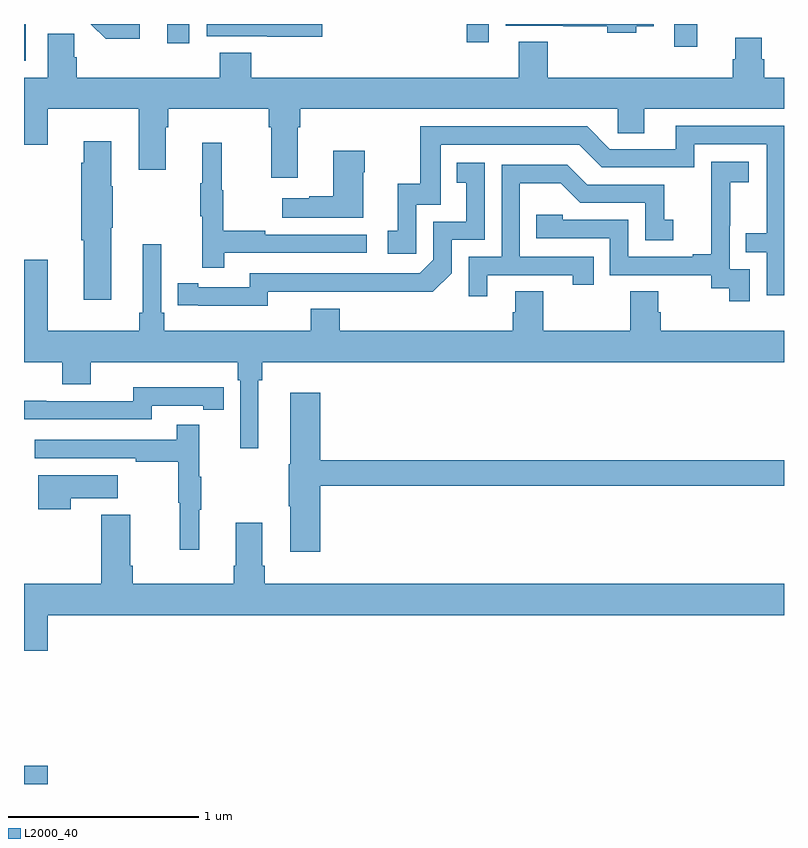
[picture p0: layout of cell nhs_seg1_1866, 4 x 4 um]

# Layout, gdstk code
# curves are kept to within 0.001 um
import gdstk
lib = gdstk.Library(unit=1e-6, precision=1e-09)
def R(c, l, rs):  # rectangles x0, y0, x1, y1
    for r in rs: c.add(gdstk.rectangle(r[:2], r[2:], *l))
def P(c, l, *ps):  # polygons
    for p in ps: c.add(gdstk.Polygon(p, *l))
L2000_40 = (2000, 40)

nhs_seg1_1866 = lib.new_cell('nhs_seg1_1866')
R(nhs_seg1_1866, L2000_40, [(213,528.199,213.124,528.295), (213,532.005,213.009,532.199), (216.422,532.08,216.544,532.199), (213.755,532.098,213.87,532.199), (215.329,532.104,215.445,532.199)])
P(nhs_seg1_1866, L2000_40, [(214.571,532.199),(213.963,532.199),(213.963,532.134),(214.279,532.134),(214.279,532.133),(214.571,532.133)],
  [(216.223,532.188),(216.315,532.188),(216.315,532.199),(215.535,532.199),(215.535,532.19),(215.839,532.19),(215.839,532.188),(216.071,532.188),(216.071,532.154),(216.223,532.154)],
  [(213.61,532.199),(213.352,532.199),(213.431,532.121),(213.61,532.121)],
  [(213,531.564),(213.124,531.564),(213.124,531.752),(213.605,531.752),(213.605,531.432),(213.745,531.432),(213.745,531.656),(213.758,531.656),(213.758,531.752),(214.289,531.752),(214.289,531.656),(214.301,531.656),(214.301,531.39),(214.441,531.39),(214.441,531.656),(214.454,531.656),(214.454,531.752),(216.126,531.752),(216.126,531.625),(216.265,531.625),(216.265,531.752),(217,531.752),(217,531.916),(216.896,531.916),(216.896,532.014),(216.883,532.014),(216.883,532.126),(216.743,532.126),(216.743,532.014),(216.731,532.014),(216.731,531.916),(215.756,531.916),(215.756,532.105),(215.603,532.105),(215.603,531.916),(214.196,531.916),(214.196,532.049),(214.031,532.049),(214.031,531.916),(213.278,531.916),(213.278,532.025),(213.264,532.025),(213.264,532.148),(213.125,532.148),(213.125,531.916),(213,531.916)],
  [(217,531.663),(216.431,531.663),(216.431,531.54),(216.084,531.54),(215.964,531.66),(215.085,531.66),(215.085,531.358),(214.967,531.358),(214.967,531.111),(214.914,531.111),(214.914,530.991),(215.064,530.991),(215.064,531.249),(215.193,531.249),(215.193,531.564),(215.922,531.564),(216.042,531.444),(216.528,531.444),(216.528,531.567),(216.909,531.567),(216.909,531.098),(216.799,531.098),(216.799,530.997),(216.909,530.997),(216.909,530.772),(217,530.772)],
  [(213.46,531.127),(213.468,531.127),(213.468,531.344),(213.46,531.344),(213.46,531.583),(213.314,531.583),(213.314,531.47),(213.302,531.47),(213.302,531.06),(213.314,531.06),(213.314,530.748),(213.46,530.748)],
  [(214.055,530.994),(214.804,530.994),(214.804,531.09),(214.271,531.09),(214.271,531.11),(214.048,531.11),(214.048,531.324),(214.04,531.324),(214.04,531.574),(213.938,531.574),(213.938,531.361),(213.927,531.361),(213.927,531.187),(213.938,531.187),(213.938,530.916),(214.055,530.916)],
  [(214.786,531.419),(214.794,531.419),(214.794,531.532),(214.628,531.532),(214.628,531.293),(214.502,531.293),(214.502,531.283),(214.359,531.283),(214.359,531.179),(214.786,531.179)],
  [(216.819,530.907),(216.714,530.907),(216.714,531.137),(216.716,531.137),(216.716,531.365),(216.814,531.365),(216.814,531.475),(216.616,531.475),(216.616,531.269),(216.617,531.269),(216.617,530.986),(216.521,530.986),(216.521,530.973),(216.18,530.973),(216.18,531.168),(215.835,531.168),(215.835,531.195),(215.695,531.195),(215.695,531.072),(216.084,531.072),(216.084,530.877),(216.618,530.877),(216.618,530.809),(216.711,530.809),(216.711,530.739),(216.819,530.739)],
  [(214.284,530.79),(215.152,530.789),(215.25,530.886),(215.25,531.063),(215.424,531.063),(215.424,531.469),(215.278,531.469),(215.278,531.363),(215.327,531.363),(215.327,531.159),(215.154,531.159),(215.154,530.958),(215.082,530.886),(214.188,530.886),(214.188,530.814),(213.916,530.814),(213.916,530.834),(213.808,530.834),(213.808,530.718),(214.284,530.717)],
  [(215.437,530.877),(215.888,530.877),(215.888,530.826),(215.999,530.826),(215.999,530.973),(215.61,530.973),(215.61,531.362),(215.824,531.362),(215.928,531.258),(216.27,531.258),(216.27,531.06),(216.418,531.06),(216.418,531.169),(216.369,531.169),(216.369,531.354),(215.965,531.354),(215.86,531.459),(215.514,531.459),(215.514,530.973),(215.34,530.973),(215.34,530.766),(215.437,530.766)],
  [(214.234,530.324),(214.253,530.324),(214.253,530.42),(217,530.42),(217,530.584),(216.35,530.584),(216.35,530.682),(216.337,530.682),(216.337,530.792),(216.19,530.792),(216.19,530.584),(215.733,530.584),(215.733,530.792),(215.585,530.792),(215.585,530.682),(215.573,530.682),(215.573,530.584),(214.661,530.584),(214.661,530.701),(214.508,530.701),(214.508,530.584),(213.737,530.584),(213.737,530.68),(213.723,530.68),(213.723,531.04),(213.626,531.04),(213.626,530.68),(213.607,530.68),(213.607,530.584),(213.124,530.584),(213.124,530.959),(213,530.959),(213,530.42),(213.2,530.42),(213.2,530.303),(213.352,530.303),(213.352,530.42),(214.124,530.42),(214.124,530.324),(214.137,530.324),(214.137,529.965),(214.234,529.965)],
  [(213.672,530.19),(213.944,530.19),(213.944,530.17),(214.052,530.17),(214.052,530.286),(213.944,530.286),(213.944,530.287),(213.576,530.287),(213.576,530.214),(213.116,530.214),(213.116,530.216),(213,530.216),(213,530.118),(213.672,530.118)],
  [(214.559,529.768),(217,529.768),(217,529.904),(214.559,529.904),(214.559,530.257),(214.4,530.257),(214.4,529.881),(214.393,529.881),(214.393,529.66),(214.4,529.66),(214.4,529.422),(214.559,529.422)],
  [(213.923,529.643),(213.934,529.643),(213.934,529.817),(213.923,529.817),(213.923,530.089),(213.805,530.089),(213.805,530.01),(213.057,530.01),(213.057,529.914),(213.589,529.914),(213.589,529.894),(213.813,529.894),(213.813,529.68),(213.82,529.68),(213.82,529.431),(213.923,529.431)],
  [(213.245,529.703),(213.493,529.703),(213.493,529.825),(213.074,529.825),(213.074,529.644),(213.245,529.644)],
  [(213.124,529.088),(217,529.088),(217,529.252),(214.268,529.252),(214.268,529.348),(214.255,529.348),(214.255,529.573),(214.115,529.573),(214.115,529.348),(214.103,529.348),(214.103,529.252),(213.572,529.252),(213.572,529.348),(213.559,529.348),(213.559,529.615),(213.407,529.615),(213.407,529.252),(213,529.252),(213,528.9),(213.124,528.9)])

lib.write_gds('nhs_seg1_1866.gds')
